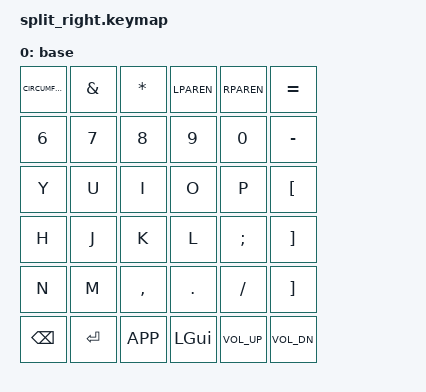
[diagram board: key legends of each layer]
#include <dt-bindings/zmk/bt.h>

/ {
    keymap {
        compatible = "zmk,keymap";
        layers = <&base>;

        base {
            bindings = <
                &kp CIRCUMFLEX &kp AMPERSAND &kp ASTERISK &kp LPAREN  &kp RPAREN &kp EQUAL
                &kp N6         &kp N7        &kp N8       &kp N9      &kp N0     &kp MINUS
                &kp Y          &kp U         &kp I        &kp O       &kp P      &kp LBKT
                &kp H          &kp J         &kp K        &kp L       &kp SEMI   &kp RBKT
                &kp N          &kp M         &kp COMMA    &kp DOT     &kp SLASH  &kp RBKT
                &kp BSPC       &kp ENTER     &kp APP      &kp LGUI    &kp C_VOL_UP &kp C_VOL_DN
            >;
        };
    };
};
